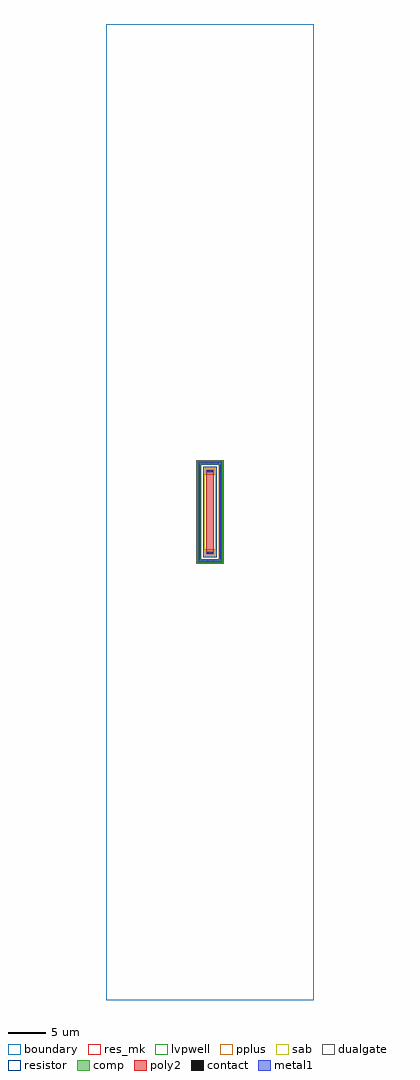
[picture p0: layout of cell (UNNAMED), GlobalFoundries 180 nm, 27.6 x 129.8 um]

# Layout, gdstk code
import gdstk
lib = gdstk.Library(unit=1e-6, precision=1e-09)
def R(c, l, rs):  # rectangles x0, y0, x1, y1
    for r in rs: c.add(gdstk.rectangle(r[:2], r[2:], *l))
def A(c, l, x, y, w, h, nx, ny, dx, dy):  # array of equal rectangles
    R(c, l, [(x+i*dx, y+j*dy, x+i*dx+w, y+j*dy+h) for i in range(nx) for j in range(ny)])
boundary = (0, 0)
comp = (22, 0)
poly2 = (30, 0)
pplus = (31, 0)
contact = (33, 0)
metal1 = (34, 0)
sab = (49, 0)
dualgate = (55, 0)
resistor = (62, 0)
res_mk = (110, 5)
lvpwell = (204, 0)

c__unnamed_ = lib.new_cell('(UNNAMED)')
R(c__unnamed_, boundary, [(-13.8,-64.9,13.8,64.9)])
R(c__unnamed_, comp, [(-1.56,-6.67,1.56,-6.31), (-1.56,-6.31,-1.2,6.31), (1.2,-6.31,1.56,6.31), (-1.56,6.31,1.56,6.67)])
R(c__unnamed_, poly2, [(-0.5,-5.61,0.5,5.61)])
R(c__unnamed_, pplus, [(-1.58,-6.69,1.58,-6.29), (-1.58,-6.29,-1.17,-6.185), (1.17,-6.29,1.58,-6.185), (-1.59,-6.185,-1.17,6.185), (1.17,-6.185,1.59,6.185), (-0.7,-5.81,0.7,-5), (-0.7,5,0.7,5.81), (-1.58,6.185,-1.17,6.29), (1.17,6.185,1.58,6.29), (-1.58,6.29,1.58,6.69)])
A(c__unnamed_, contact, -1.49, -5.985, 0.22, 0.22, 1, 26, 0, 0.47)
A(c__unnamed_, contact, 1.27, -5.985, 0.22, 0.22, 1, 26, 0, 0.47)
R(c__unnamed_, contact, [(-0.345,-5.54,-0.125,-5.32), (0.125,-5.54,0.345,-5.32), (-0.345,5.32,-0.125,5.54), (0.125,5.32,0.345,5.54)])
R(c__unnamed_, metal1, [(-1.495,-6.605,1.495,-6.375), (-1.495,-6.375,-1.265,6.375), (1.265,-6.375,1.495,6.375), (-0.49,-5.545,0.49,-5.315), (-0.49,5.315,0.49,5.545), (-1.495,6.375,1.495,6.605)])
R(c__unnamed_, sab, [(-0.78,-5.1,0.78,5.1), (-0.78,-5,0.78,5)])
R(c__unnamed_, dualgate, [(-1.8,-6.91,1.8,6.91)])
R(c__unnamed_, resistor, [(-0.9,-6.01,0.9,6.01)])
R(c__unnamed_, res_mk, [(-0.78,-5,0.78,5), (-0.5,-5,0.5,5)])
R(c__unnamed_, lvpwell, [(-1.72,-6.83,1.72,6.83)])

lib.write_gds('_UNNAMED_.gds')
